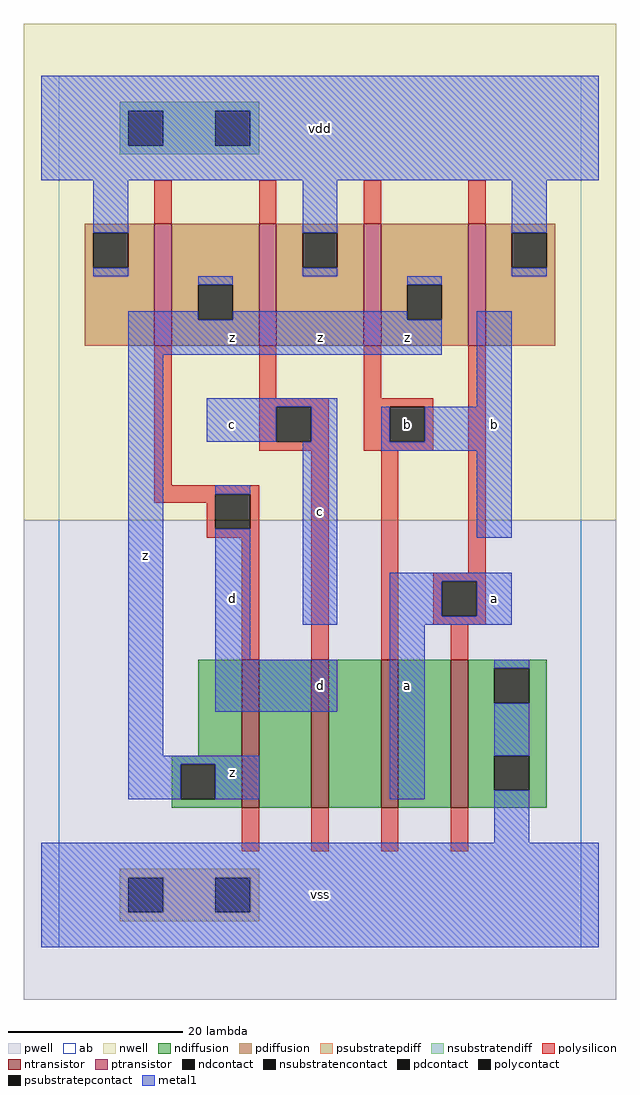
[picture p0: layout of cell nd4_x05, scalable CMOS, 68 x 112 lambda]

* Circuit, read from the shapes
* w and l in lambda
.subckt nd4_x05 a b c d vdd vss z
M1 n1 d z vss nfet w=17 l=2
M2 n2 c n1 vss nfet w=17 l=2
M3 n3 b n2 vss nfet w=17 l=2
M4 vss a n3 vss nfet w=17 l=2
M5 z d vdd vdd pfet w=14 l=2
M6 vdd c z vdd pfet w=14 l=2
M7 z b vdd vdd pfet w=14 l=2
M8 vdd a z vdd pfet w=14 l=2
.ends

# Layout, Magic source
magic
tech scmos
<< ab >>
rect 0 0 60 100
<< pwell >>
rect -4 -6 64 49
<< nwell >>
rect -4 49 64 106
<< polysilicon >>
rect 11 83 13 88
rect 23 83 25 88
rect 35 83 37 88
rect 47 83 49 88
rect 11 53 13 69
rect 23 63 25 69
rect 35 63 37 69
rect 23 62 31 63
rect 23 58 25 62
rect 29 58 31 62
rect 23 57 31 58
rect 35 62 43 63
rect 35 58 38 62
rect 42 58 43 62
rect 35 57 43 58
rect 11 52 23 53
rect 11 51 18 52
rect 17 48 18 51
rect 22 48 23 52
rect 17 47 23 48
rect 21 33 23 47
rect 29 33 31 57
rect 37 33 39 57
rect 47 43 49 69
rect 43 42 49 43
rect 43 38 44 42
rect 48 38 49 42
rect 43 37 49 38
rect 45 33 47 37
rect 21 11 23 16
rect 29 11 31 16
rect 37 11 39 16
rect 45 11 47 16
<< ndiffusion >>
rect 16 22 21 33
rect 13 21 21 22
rect 13 17 14 21
rect 18 17 21 21
rect 13 16 21 17
rect 23 16 29 33
rect 31 16 37 33
rect 39 16 45 33
rect 47 32 56 33
rect 47 28 50 32
rect 54 28 56 32
rect 47 22 56 28
rect 47 18 50 22
rect 54 18 56 22
rect 47 16 56 18
<< pdiffusion >>
rect 3 82 11 83
rect 3 78 4 82
rect 8 78 11 82
rect 3 69 11 78
rect 13 76 23 83
rect 13 72 16 76
rect 20 72 23 76
rect 13 69 23 72
rect 25 82 35 83
rect 25 78 28 82
rect 32 78 35 82
rect 25 69 35 78
rect 37 76 47 83
rect 37 72 40 76
rect 44 72 47 76
rect 37 69 47 72
rect 49 82 57 83
rect 49 78 52 82
rect 56 78 57 82
rect 49 69 57 78
<< metal1 >>
rect -2 88 62 100
rect 4 82 8 88
rect 4 77 8 78
rect 28 82 32 88
rect 28 77 32 78
rect 52 82 56 88
rect 52 77 56 78
rect 16 76 20 77
rect 8 72 16 73
rect 40 76 44 77
rect 20 72 40 73
rect 8 68 44 72
rect 8 22 12 68
rect 17 62 32 63
rect 48 62 52 73
rect 17 58 25 62
rect 29 58 32 62
rect 18 52 22 53
rect 18 33 22 48
rect 28 37 32 58
rect 37 58 38 62
rect 42 58 52 62
rect 37 57 52 58
rect 48 47 52 57
rect 38 42 52 43
rect 38 38 44 42
rect 48 38 52 42
rect 38 37 52 38
rect 18 27 32 33
rect 8 21 23 22
rect 8 17 14 21
rect 18 17 23 21
rect 38 17 42 37
rect 50 32 54 33
rect 50 22 54 28
rect 50 12 54 18
rect -2 0 62 12
<< ntransistor >>
rect 21 16 23 33
rect 29 16 31 33
rect 37 16 39 33
rect 45 16 47 33
<< ptransistor >>
rect 11 69 13 83
rect 23 69 25 83
rect 35 69 37 83
rect 47 69 49 83
<< polycontact >>
rect 25 58 29 62
rect 38 58 42 62
rect 18 48 22 52
rect 44 38 48 42
<< ndcontact >>
rect 14 17 18 21
rect 50 28 54 32
rect 50 18 54 22
<< pdcontact >>
rect 4 78 8 82
rect 16 72 20 76
rect 28 78 32 82
rect 40 72 44 76
rect 52 78 56 82
<< psubstratepcontact >>
rect 8 4 12 8
rect 18 4 22 8
<< nsubstratencontact >>
rect 8 92 12 96
rect 18 92 22 96
<< psubstratepdiff >>
rect 7 8 23 9
rect 7 4 8 8
rect 12 4 18 8
rect 22 4 23 8
rect 7 3 23 4
<< nsubstratendiff >>
rect 7 96 23 97
rect 7 92 8 96
rect 12 92 18 96
rect 22 92 23 96
rect 7 91 23 92
<< labels >>
rlabel metal1 20 20 20 20 6 z
rlabel metal1 20 20 20 20 6 z
rlabel metal1 20 40 20 40 6 d
rlabel metal1 20 40 20 40 6 d
rlabel metal1 10 45 10 45 6 z
rlabel metal1 10 45 10 45 6 z
rlabel metal1 20 60 20 60 6 c
rlabel metal1 20 60 20 60 6 c
rlabel metal1 20 70 20 70 6 z
rlabel metal1 20 70 20 70 6 z
rlabel metal1 30 6 30 6 6 vss
rlabel metal1 30 6 30 6 6 vss
rlabel metal1 30 30 30 30 6 d
rlabel metal1 30 30 30 30 6 d
rlabel metal1 30 50 30 50 6 c
rlabel metal1 30 50 30 50 6 c
rlabel metal1 30 70 30 70 6 z
rlabel metal1 30 70 30 70 6 z
rlabel metal1 30 94 30 94 6 vdd
rlabel metal1 30 94 30 94 6 vdd
rlabel metal1 40 30 40 30 6 a
rlabel metal1 40 30 40 30 6 a
rlabel polycontact 40 60 40 60 6 b
rlabel polycontact 40 60 40 60 6 b
rlabel metal1 40 70 40 70 6 z
rlabel metal1 40 70 40 70 6 z
rlabel metal1 50 40 50 40 6 a
rlabel metal1 50 40 50 40 6 a
rlabel metal1 50 60 50 60 6 b
rlabel metal1 50 60 50 60 6 b
<< end >>
